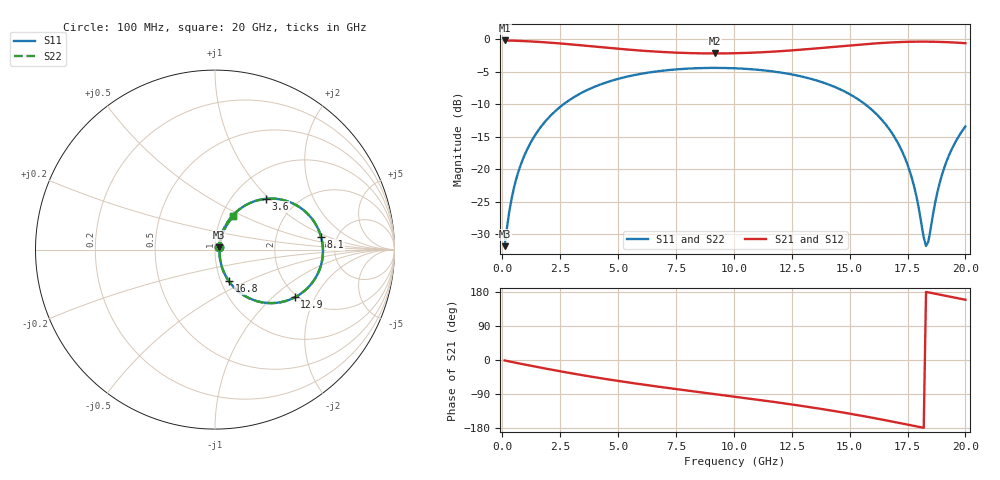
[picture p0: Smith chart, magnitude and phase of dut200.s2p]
! Touchstone file exported from HFSS 2026.1.0
!  File:  C:/ffzhzh/LocalFiles/Ansys_Project_Files/temp_train_TSV_RDL_200_1783060223_36532.aedt
!  Generated:  02:41:46 PM Jul  3, 2026
!  Design:  TSV_RDL
!  Project:  temp_train_TSV_RDL_200_1783060223_36532
! Variables:
!  h_bsmrdl = 2.65um
!  h_ox = 20um
!  h_rdl = 5um
!  h_sub = 98.85um
!  h_tmrdl = 2.82um
!  h_tsv = 98.85um
!  h_via = 3um
!  l_bsmrdl = 568.41um
!  l_sub = 3013.19um
!  l_tmrdl = 195.61um
!  m_sub = 200um
!  pitch = 59.18um
!  r_tsv = 11um
!  s_tmrdl = 10um
!  w_bsmrdl = 13.54um
!  w_sub = 500um
!  w_tmrdl = 28.3um
!  x_tsv_center1 = 209.76um
!  x_tsv_center2 = 791.71um
!  x_tsv_center3 = 1015.62um
!  x_tsv_center4 = 1597.57um
!  x_tsv_center5 = 1821.48um
!  x_tsv_center6 = 2403.43um
# GHz S MA R 50.000000
! Terminal data exported
! Port[1] = TM_RDL1_1_T1
! Port[2] = TM_RDL5_1_T1
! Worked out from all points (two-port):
!   200 points, 100 MHz to 20 GHz, reference 50 ohm
!   highest |S21| = -0.19 dB at 100 MHz (marker M1); lowest = -2.2 dB at 9.2 GHz (marker M2)
!   |S21| within 3 dB of the highest: start of sweep to end of sweep
!   lowest |S11| = -31.9 dB at 100 MHz (marker M3), VSWR 1.05, Z = 52.2 + j1.4 ohm
!   |S11| at or under -10 dB: start of sweep to 2.65 GHz; 15.66 GHz to end of sweep
!   |S22| runs from -32.0 to -4.4 dB; largest |S21 - S12| = 3.3e-14
!   S11 on the Smith chart (normalised r, x): 100 MHz: 1.04, +0.03; 3.6 GHz: 1.42, +0.96; 8.1 GHz: 3.74, +0.83; 12.9 GHz: 1.93, -1.40; 16.8 GHz: 1.09, -0.40; 20 GHz: 1.14, +0.44
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0.1  0.0255 31.7  0.9785 -1.3  0.9785 -1.3  0.0255 31.7
! Gamma 0 0 0 0
! Port Impedance 50 0 50 0
0.5  0.07133 64.6  0.9744 -6.3  0.9744 -6.3  0.07133 64.6
1.1  0.1449 66.4  0.9645 -13.6  0.9645 -13.6  0.1449 66.4
2.1  0.2596 59.0  0.9401 -25.3  0.9401 -25.3  0.2596 59.0
3.5  0.3929 45.8  0.8945 -40.5  0.8945 -40.5  0.3929 45.8
3.6  0.401 44.9  0.891 -41.6  0.891 -41.6  0.401 44.9
6.8  0.569 17.1  0.7997 -70.9  0.7997 -70.9  0.569 17.1
8.1  0.5951 6.9  0.7818 -81.5  0.7818 -81.5  0.5951 6.9
9.2  0.6016 -1.5  0.7772 -90.2  0.7772 -90.2  0.6017 -1.5
10.1  0.5969 -8.3  0.7806 -97.3  0.7806 -97.3  0.5969 -8.4
12.9  0.5178 -30.9  0.8308 -120.9  0.8308 -120.9  0.5178 -31.0
13.4  0.4916 -35.3  0.845 -125.5  0.845 -125.5  0.4916 -35.3
15.3  0.351 -52.9  0.9051 -144.8  0.9051 -144.8  0.3511 -52.9
16.7  0.2045 -65.5  0.9427 -160.8  0.9427 -160.8  0.2045 -65.6
16.8  0.1928 -66.2  0.9448 -161.9  0.9448 -161.9  0.1928 -66.3
17.6  0.09606 -67.9  0.9562 -171.6  0.9562 -171.6  0.096 -68.1
17.9  0.05991 -61.7  0.958 -175.3  0.958 -175.3  0.05978 -62.1
18.3  0.02562 -7.1  0.9583 179.7  0.9583 179.7  0.02524 -7.3
18.4  0.02763 19.6  0.958 178.5  0.958 178.5  0.02725 19.9
18.8  0.06746 60.0  0.955 173.5  0.955 173.5  0.06727 60.3
19.1  0.1041 64.4  0.9512 169.9  0.9512 169.9  0.1039 64.6
20  0.2129 61.1  0.9322 159.0  0.9322 159.0  0.2128 61.2
